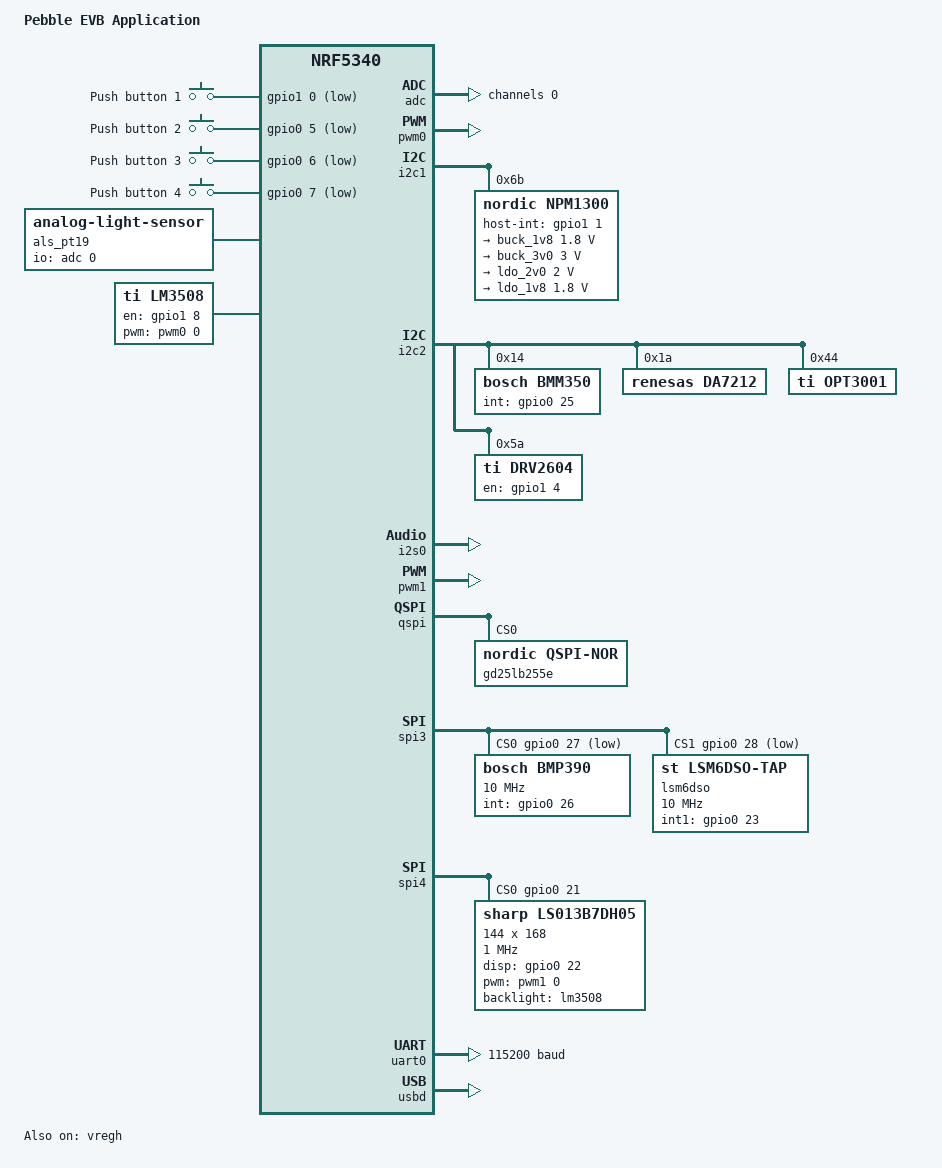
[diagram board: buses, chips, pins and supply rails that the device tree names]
/dts-v1/;

#include <nordic/nrf5340_cpuapp_qkaa.dtsi>
#include "pebble_evb_nrf5340_cpuapp-pinctrl.dtsi"

/ {
	model = "Pebble EVB Application";
	compatible = "pebble,pebble-evb-cpuapp";

	chosen {
		zephyr,sram = &sram0_image;
		zephyr,flash = &flash0;
		zephyr,code-partition = &slot0_partition;
		zephyr,console = &uart0;
		zephyr,shell-uart = &uart0;
		zephyr,bt-hci = &bt_hci_ipc0;
		zephyr,display = &ls013b7dh05;
	};

	aliases {
		button0 = &button1;
		led0 = &npm1300_led;
		light0 = &opt3001;
		light1 = &als_pt19;
		mag0 = &bmm350;
		press0 = &bmp390;
		tap0 = &lsm6dso;
	};

	buttons {
		compatible = "gpio-keys";
		button1: button_1 {
			gpios = <&gpio1 0 (GPIO_PULL_UP | GPIO_ACTIVE_LOW)>;
			label = "Push button 1";
			zephyr,code = <INPUT_KEY_1>;
		};
		button2: button_2 {
			gpios = <&gpio0 5 (GPIO_PULL_UP | GPIO_ACTIVE_LOW)>;
			label = "Push button 2";
			zephyr,code = <INPUT_KEY_2>;
		};
		button3: button_3 {
			gpios = <&gpio0 6 (GPIO_PULL_UP | GPIO_ACTIVE_LOW)>;
			label = "Push button 3";
			zephyr,code = <INPUT_KEY_3>;
		};
		button4: button_0 {
			gpios = <&gpio0 7 (GPIO_PULL_UP | GPIO_ACTIVE_LOW)>;
			label = "Push button 4";
			zephyr,code = <INPUT_KEY_4>;
		};
	};

	als_pt19: light-sensor {
		compatible = "analog-light-sensor";
		io-channels = <&adc 0>;
	};

	lm3508: backlight {
		compatible = "ti,lm3508";
		en-gpios = <&gpio1 8 GPIO_ACTIVE_HIGH>;
		pwms = <&pwm0 0 PWM_KHZ(20) PWM_POLARITY_NORMAL>;
	};
};

&adc {
	#address-cells = <1>;
	#size-cells = <0>;

	/* configuration suitable for light sensor measurements (<=1.8V)
	 * ADC range when using internal ref = (0.0V - 0.6V)
	 */
	channel@0 {
		reg = <0>;
		zephyr,gain = "ADC_GAIN_1_3";
		zephyr,reference = "ADC_REF_INTERNAL";
		zephyr,acquisition-time = <ADC_ACQ_TIME_DEFAULT>;
		zephyr,input-positive = <NRF_SAADC_AIN1>;
		zephyr,resolution = <12>;
	};
};

&gpiote {
	status = "okay";
};

&gpio0 {
	status = "okay";
};

&gpio1 {
	status = "okay";
};

&pwm0 {
	status = "okay";
	pinctrl-0 = <&pwm0_default>;
	pinctrl-1 = <&pwm0_sleep>;
	pinctrl-names = "default", "sleep";
};

&i2c1 {
	compatible = "nordic,nrf-twim";
	status = "okay";
	pinctrl-0 = <&i2c1_default>;
	pinctrl-1 = <&i2c1_sleep>;
	pinctrl-names = "default", "sleep";

	npm1300: pmic@6b {
		compatible = "nordic,npm1300";
		reg = <0x6b>;
		pmic-int-pin = <1>;
		host-int-gpios = <&gpio1 1 GPIO_ACTIVE_HIGH>;

		npm1300_gpio: gpio-controller {
			compatible = "nordic,npm1300-gpio";
			gpio-controller;
			#gpio-cells = <2>;
			ngpios = <5>;
		};

		regulators {
			compatible = "nordic,npm1300-regulator";

			buck_1v8: BUCK1 {
				regulator-min-microvolt = <1800000>;
				regulator-max-microvolt = <1800000>;
			};

			buck_3v0: BUCK2 {
				regulator-min-microvolt = <3000000>;
				regulator-max-microvolt = <3000000>;
			};

			ldo_2v0: LDO1 {
				regulator-min-microvolt = <2000000>;
				regulator-max-microvolt = <2000000>;
			};

			ldo_1v8: LDO2 {
				regulator-min-microvolt = <1800000>;
				regulator-max-microvolt = <1800000>;
			};
		};

		npm1300_led: leds {
			compatible = "nordic,npm1300-led";
			nordic,led0-mode = "host";
			nordic,led1-mode = "host";
			nordic,led2-mode = "host";
		};
	};
};

&i2c2 {
	compatible = "nordic,nrf-twim";
	status = "okay";
	pinctrl-0 = <&i2c2_default>;
	pinctrl-1 = <&i2c2_sleep>;
	pinctrl-names = "default", "sleep";

	bmm350: magnetic-sensor@14 {
		compatible = "bosch,bmm350";
		reg = <0x14>;
		int-gpios = <&gpio0 25 GPIO_ACTIVE_HIGH>;
	};

	da7212: audio-codec@1a {
		compatible = "renesas,da7212";
		reg = <0x1a>;
	};

	opt3001: light-sensor@44 {
		compatible = "ti,opt3001";
		reg = <0x44>;
	};

	drv2604: haptic@5a {
		compatible = "ti,drv2604";
		reg = <0x5a>;
		en-gpios = <&gpio1 4 GPIO_ACTIVE_HIGH>;
	};
};

&i2s0 {
	compatible = "nordic,nrf-i2s";
	status = "okay";
	pinctrl-0 = <&i2s0_default>;
	pinctrl-1 = <&i2s0_sleep>;
	pinctrl-names = "default", "sleep";
};

&pwm1 {
	status = "okay";
	pinctrl-0 = <&pwm1_default>;
	pinctrl-1 = <&pwm1_sleep>;
	pinctrl-names = "default", "sleep";
};

&qspi {
	status = "okay";
	pinctrl-0 = <&qspi_default>;
	pinctrl-1 = <&qspi_sleep>;
	pinctrl-names = "default", "sleep";

	gd25lb255e: memory@0 {
		compatible = "nordic,qspi-nor";
		reg = <0>;
		writeoc = "pp4io";
		readoc = "read4io";
		sck-frequency = <8000000>;
		jedec-id = [c8 60 19];
		sfdp-bfp = [
			e5 20 f3 ff  ff ff ff 0f  44 eb 08 6b  08 3b 42 bb
			fe ff ff ff  ff ff 00 ff  ff ff 42 eb  0c 20 0f 52
			10 d8 00 ff  d4 31 a5 fe  84 df 14 4f  ec 62 16 33
			7a 75 7a 75  04 b3 d5 5c  19 06 14 00  08 50 00 01
		];
		size = <DT_SIZE_M(32)>;
		has-dpd;
		t-enter-dpd = <3000>;
		t-exit-dpd = <20000>;
	};
};

&spi3 {
	compatible = "nordic,nrf-spim";
	status = "okay";
	cs-gpios = <&gpio0 27 GPIO_ACTIVE_LOW>, <&gpio0 28 GPIO_ACTIVE_LOW>;
	pinctrl-0 = <&spi3_default>;
	pinctrl-1 = <&spi3_sleep>;
	pinctrl-names = "default", "sleep";

	bmp390: pressure-sensor@0 {
		compatible = "bosch,bmp390";
		reg = <0x0>;
		int-gpios = <&gpio0 26 GPIO_ACTIVE_HIGH>;
		spi-max-frequency = <DT_FREQ_M(10)>;
	};

	lsm6dso: imu-sensor@1 {
		compatible = "st,lsm6dso-tap";
		reg = <0x1>;
		int1-gpios = <&gpio0 23 GPIO_ACTIVE_HIGH>;
		spi-max-frequency = <DT_FREQ_M(10)>;
	};
};

&spi4 {
	compatible = "nordic,nrf-spim";
	status = "okay";
	cs-gpios = <&gpio0 21 GPIO_ACTIVE_HIGH>;
	pinctrl-0 = <&spi4_default>;
	pinctrl-1 = <&spi4_sleep>;
	pinctrl-names = "default", "sleep";

	ls013b7dh05: display@0 {
		compatible = "sharp,ls013b7dh05";
		reg = <0x0>;
		disp-gpios = <&gpio0 22 GPIO_ACTIVE_HIGH>;
		pwms = <&pwm1 0 PWM_HZ(120) PWM_POLARITY_NORMAL>;
		pwm-names = "extcomin";
		spi-max-frequency = <DT_FREQ_M(1)>;
		backlight = <&lm3508>;
		height = <168>;
		width = <144>;
	};
};

&uart0 {
	status = "okay";
	current-speed = <115200>;
	pinctrl-0 = <&uart0_default>;
	pinctrl-1 = <&uart0_sleep>;
	pinctrl-names = "default", "sleep";
};

&vregh {
	status = "okay";
};

&vregmain {
	regulator-initial-mode = <NRF5X_REG_MODE_DCDC>;
};

&vregradio {
	regulator-initial-mode = <NRF5X_REG_MODE_DCDC>;
};

zephyr_udc0: &usbd {
	compatible = "nordic,nrf-usbd";
	status = "okay";
};

#include <common/nordic/nrf5340_cpuapp_partition.dtsi>
#include <common/nordic/nrf5340_shared_sram_partition.dtsi>
